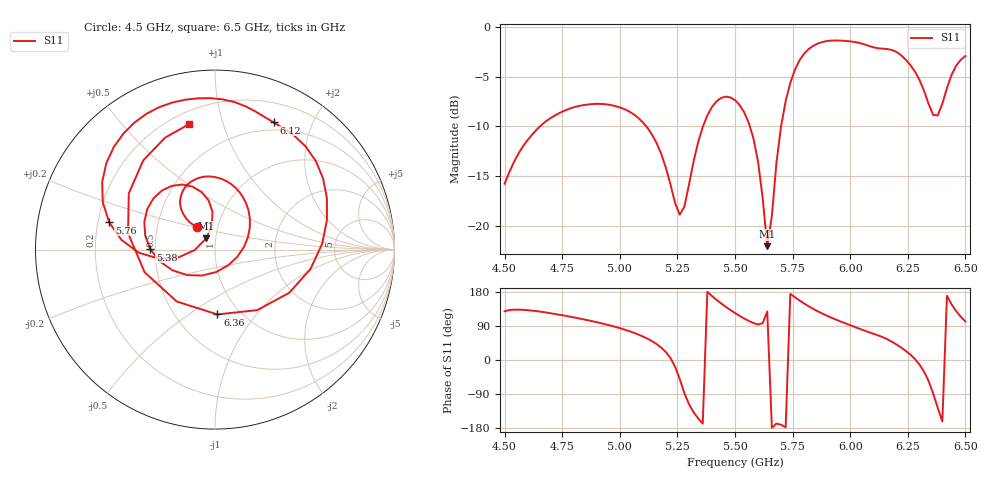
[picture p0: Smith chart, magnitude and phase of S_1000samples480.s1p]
! TOUCHSTONE file generated by CST MICROWAVE STUDIO
! Date and time: Fri Oct 28 07:31:51 2022
! Project name: L.cst
! Parameters = {Di=1.27; Epsilon_r=1.56; InnerDiameter=1.27; Length=2; Lf=10; Lg=60; OuterConductorThickness=0.2921; OuterDiameter=3.6; Wf=3; Wp=41.2; de=1.5; df=6.8; g=0.8; gx=1.04124; gy=0.53736; h=2.34; hf=1.524; px=13.1837; py=8.3272; w=9.7; wx=12.1425; wy=7.78984}
! Header version: 2018
! Port assignment regex: !\s*Touchstone port\s*([0-9]+)\s*=\s*(CST MWS port|CST DS port)\s*([0-9]+|Zmin|Zmax)\s*\(\"(.*)\"\)(\s*mode\s*([0-9]+))?.*
! Touchstone port assignment:
! Touchstone port 1 = CST MWS port 1 ("")
# GHz S DB R 50
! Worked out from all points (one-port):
!   101 points, 4.5 GHz to 6.5 GHz, reference 50 ohm
!   lowest |S11| = -22.0 dB at 5.64 GHz (marker M1), VSWR 1.17, Z = 45 + j5.68 ohm
!   |S11| at or under -10 dB: start of sweep to 4.653 GHz; 5.115 GHz to 5.361 GHz (245.7 MHz wide, 4.69 % of centre); 5.564 GHz to 5.7 GHz (135.4 MHz wide, 2.4 % of centre)
!   S11 on the Smith chart (normalised r, x): 4.5 GHz: 0.79, +0.21; 5.38 GHz: 0.47, +0.00; 5.76 GHz: 0.25, +0.12; 6.12 GHz: 0.41, +1.48; 6.36 GHz: 0.79, -0.65; 6.5 GHz: 0.27, +0.77
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4.5  -15.73 128.6
4.6  -11.35 131.4
4.76  -8.41 117.1
5  -8.08 84.1
5.14  -10.82 49.6
5.2  -14.14 20.8
5.26  -18.84 -50.2
5.32  -13.53 -137.5
5.38  -8.89 179.9
5.44  -7.14 149.2
5.5  -7.36 124.0
5.58  -11.20 97.4
5.6  -13.51 93.8
5.64  -21.99 127.9
5.7  -9.98 -170.8
5.76  -4.32 165.6
5.82  -2.24 141.6
5.88  -1.53 122.3
6  -1.47 91.9
6.12  -2.16 65.2
6.18  -2.33 48.6
6.26  -3.81 14.8
6.32  -6.40 -30.1
6.36  -8.84 -87.9
6.38  -8.89 -126.3
6.42  -6.14 169.3
6.46  -3.91 128.8
6.5  -2.94 101.8
